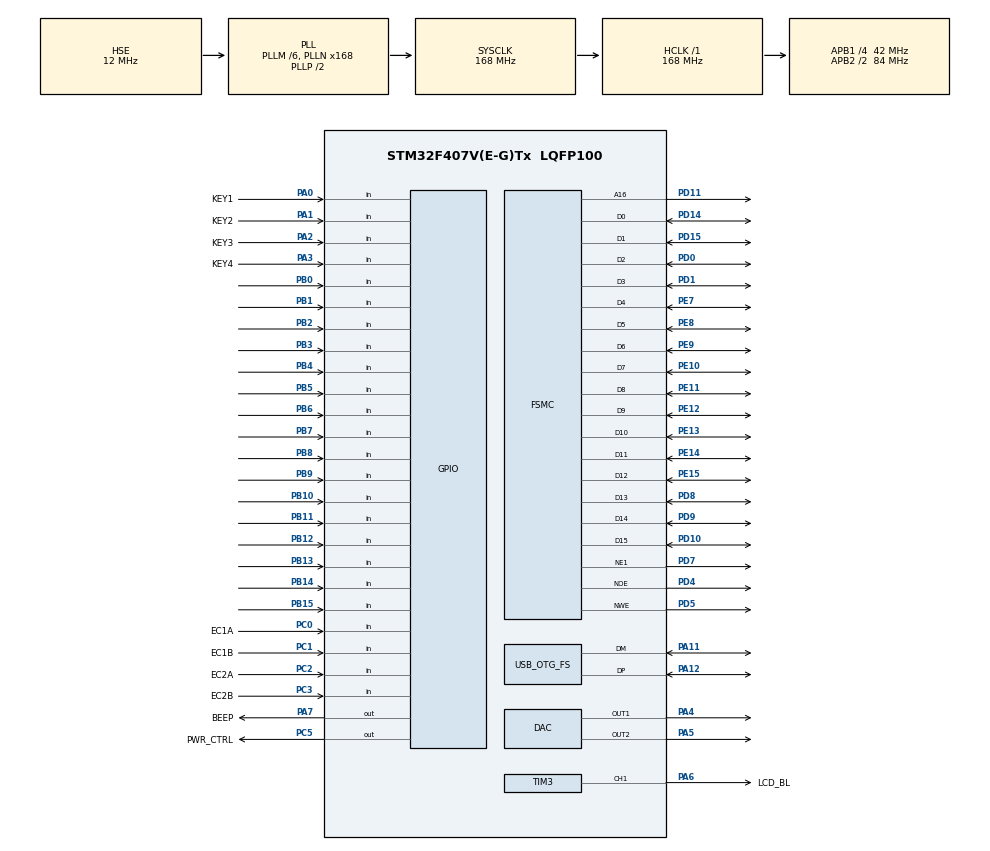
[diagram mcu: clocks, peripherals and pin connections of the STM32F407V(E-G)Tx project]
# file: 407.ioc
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FSMC.ExtendedMode1=FSMC_EXTENDED_MODE_DISABLE
Mcu.Family=STM32F4
Mcu.Name=STM32F407V(E-G)Tx
Mcu.Package=LQFP100
NVIC.OTG_FS_IRQn=true\:0\:0\:false\:false\:true\:true\:true
NVIC.PriorityGroup=NVIC_PRIORITYGROUP_4
PA0-WKUP.GPIO_Label=KEY1
PA0-WKUP.GPIO_PuPd=GPIO_PULLDOWN
PA0-WKUP.Signal=GPIO_Input
PA1.GPIO_Label=KEY2
PA1.GPIO_PuPd=GPIO_PULLDOWN
PA1.Signal=GPIO_Input
PA11.Mode=Device_Only
PA11.Signal=USB_OTG_FS_DM
PA12.Mode=Device_Only
PA12.Signal=USB_OTG_FS_DP
PA13.Mode=Serial_Wire
PA13.Signal=SYS_JTMS-SWDIO
PA14.Mode=Serial_Wire
PA14.Signal=SYS_JTCK-SWCLK
PA2.GPIO_Label=KEY3
PA2.GPIO_PuPd=GPIO_PULLDOWN
PA2.Signal=GPIO_Input
PA3.GPIO_Label=KEY4
PA3.GPIO_PuPd=GPIO_PULLDOWN
PA3.Signal=GPIO_Input
PA4.Signal=COMP_DAC1_group
PA5.Signal=COMP_DAC2_group
PA6.GPIO_Label=LCD_BL
PA6.Signal=S_TIM3_CH1
PA7.GPIO_Label=BEEP
PA7.GPIO_PuPd=GPIO_PULLDOWN
PA7.GPIO_Speed=GPIO_SPEED_FREQ_VERY_HIGH
PA7.Signal=GPIO_Output
PB0.Signal=GPIO_Input
PB1.Signal=GPIO_Input
PB10.Signal=GPIO_Input
PB11.Signal=GPIO_Input
PB12.Signal=GPIO_Input
PB13.Signal=GPIO_Input
PB14.Signal=GPIO_Input
PB15.Signal=GPIO_Input
PB2.Signal=GPIO_Input
PB3.Signal=GPIO_Input
PB4.Signal=GPIO_Input
PB5.Signal=GPIO_Input
PB6.Signal=GPIO_Input
PB7.Signal=GPIO_Input
PB8.Signal=GPIO_Input
PB9.Signal=GPIO_Input
PC0.GPIO_Label=EC1A
PC0.GPIO_PuPd=GPIO_PULLDOWN
PC0.Signal=GPIO_Input
PC1.GPIO_Label=EC1B
PC1.GPIO_PuPd=GPIO_PULLDOWN
PC1.Signal=GPIO_Input
PC2.GPIO_Label=EC2A
PC2.GPIO_PuPd=GPIO_PULLDOWN
PC2.Signal=GPIO_Input
PC3.GPIO_Label=EC2B
PC3.GPIO_PuPd=GPIO_PULLDOWN
PC3.Signal=GPIO_Input
PC5.GPIO_Label=PWR_CTRL
PC5.GPIO_Speed=GPIO_SPEED_FREQ_VERY_HIGH
PC5.Signal=GPIO_Output
PD0.Mode=16b-d1
PD0.Signal=FSMC_D2
PD1.Mode=16b-d1
PD1.Signal=FSMC_D3
PD10.Mode=16b-d1
PD10.Signal=FSMC_D15
PD11.Mode=A16_1
PD11.Signal=FSMC_A16
PD14.Mode=16b-d1
PD14.Signal=FSMC_D0
PD15.Mode=16b-d1
PD15.Signal=FSMC_D1
PD4.Mode=Lcd1
PD4.Signal=FSMC_NOE
PD5.Mode=Lcd1
PD5.Signal=FSMC_NWE
PD7.Mode=NorPsramChipSelect1_1
PD7.Signal=FSMC_NE1
PD8.Mode=16b-d1
PD8.Signal=FSMC_D13
PD9.Mode=16b-d1
PD9.Signal=FSMC_D14
PE10.Mode=16b-d1
PE10.Signal=FSMC_D7
PE11.Mode=16b-d1
PE11.Signal=FSMC_D8
PE12.Mode=16b-d1
PE12.Signal=FSMC_D9
PE13.Mode=16b-d1
PE13.Signal=FSMC_D10
PE14.Mode=16b-d1
PE14.Signal=FSMC_D11
PE15.Mode=16b-d1
PE15.Signal=FSMC_D12
PE7.Mode=16b-d1
PE7.Signal=FSMC_D4
PE8.Mode=16b-d1
PE8.Signal=FSMC_D5
PE9.Mode=16b-d1
PE9.Signal=FSMC_D6
PH0-OSC_IN.Mode=HSE-External-Oscillator
PH0-OSC_IN.Signal=RCC_OSC_IN
PH1-OSC_OUT.Mode=HSE-External-Oscillator
PH1-OSC_OUT.Signal=RCC_OSC_OUT
ProjectManager.HeapSize=0x1000
ProjectManager.StackSize=0x2000
ProjectManager.TargetToolchain=MDK-ARM V5.27
RCC.48MHZClocksFreq_Value=48000000
RCC.AHBFreq_Value=168000000
RCC.APB1CLKDivider=RCC_HCLK_DIV4
RCC.APB1Freq_Value=42000000
RCC.APB1TimFreq_Value=84000000
RCC.APB2CLKDivider=RCC_HCLK_DIV2
RCC.APB2Freq_Value=84000000
RCC.APB2TimFreq_Value=168000000
RCC.CortexFreq_Value=168000000
RCC.HCLKFreq_Value=168000000
RCC.HSE_VALUE=12000000
RCC.HSI_VALUE=16000000
RCC.LSE_VALUE=32768
RCC.PLLM=6
RCC.PLLN=168
RCC.PLLQ=7
RCC.SYSCLKFreq_VALUE=168000000
RCC.SYSCLKSource=RCC_SYSCLKSOURCE_PLLCLK
RCC.VCOOutputFreq_Value=336000000
SH.COMP_DAC1_group.0=DAC_OUT1,DAC_OUT1
SH.COMP_DAC2_group.0=DAC_OUT2,DAC_OUT2
SH.S_TIM3_CH1.0=TIM3_CH1,PWM Generation1 CH1
TIM3.Channel-PWM\ Generation1\ CH1=TIM_CHANNEL_1
TIM3.OC1Preload_PWM=DISABLE
TIM3.OCFastMode_PWM-PWM\ Generation1\ CH1=TIM_OCFAST_ENABLE
TIM3.OCMode_PWM-PWM\ Generation1\ CH1=TIM_OCMODE_PWM1
TIM3.OCPolarity_1=TIM_OCPOLARITY_LOW
TIM3.Period=5000-1
TIM3.Prescaler=0
TIM3.Pulse-PWM\ Generation1\ CH1=2800
TIM4.Prescaler=0
USB_DEVICE.CLASS_NAME_FS=CDC
USB_DEVICE.VirtualMode-CDC_FS=Cdc
USB_DEVICE.VirtualModeFS=Cdc_FS
USB_OTG_FS.VirtualMode=Device_Only
VP_RNG_VS_RNG.Mode=RNG_Activate
VP_TIM3_VS_ClockSourceINT.Mode=Internal
VP_TIM4_VS_ClockSourceINT.Mode=Internal
VP_TIM8_VS_ClockSourceINT.Mode=Internal
VP_USB_DEVICE_VS_USB_DEVICE_CDC_FS.Mode=CDC_FS
board=custom

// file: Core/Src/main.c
/* USER CODE BEGIN Header */
/**
  ******************************************************************************
  * @file           : main.c
  * @brief          : Main program body
  ******************************************************************************
  * @attention
  *
  * <h2><center>&copy; Copyright (c) 2021 STMicroelectronics.
  * All rights reserved.</center></h2>
  *
  * This software component is licensed by ST under BSD 3-Clause license,
  * the "License"; You may not use this file except in compliance with the
  * License. You may obtain a copy of the License at:
  *                        opensource.org/licenses/BSD-3-Clause
  *
  ******************************************************************************
  */
/* USER CODE END Header */
#include "main.h"
#include "dac.h"
#include "rng.h"
#include "tim.h"
#include "usb_device.h"
#include "gpio.h"

/* USER CODE BEGIN Includes */
#include "lcd.h"
//#include "usb_device.h"
//#include "usbd_cdc_if.h"
#include "lv_user.h"

#include <stdio.h>
#include <stdlib.h>
#include <string.h>
#include <stdarg.h>
/* USER CODE END Includes */

void SystemClock_Config(void);

int main(void)
{
  /* USER CODE BEGIN 1 */
    uint8_t t;
    uint8_t str_buf[] = "Hello USB VCP\r\n";
  /* USER CODE END 1 */

  /* MCU Configuration--------------------------------------------------------*/

  /* Reset of all peripherals, Initializes the Flash interface and the Systick. */
  HAL_Init();

  /* Configure the system clock */
  SystemClock_Config();

  /* Initialize all configured peripherals */
  MX_GPIO_Init();
  MX_TIM3_Init();
  MX_RNG_Init();
  MX_DAC_Init();
  MX_TIM4_Init();
  MX_TIM8_Init();
  MX_USB_DEVICE_Init();
  /* USER CODE BEGIN 2 */
    HAL_GPIO_WritePin(PWR_CTRL_GPIO_Port,PWR_CTRL_Pin,GPIO_PIN_SET);//背光电源
    HAL_TIM_PWM_Start(&htim3,TIM_CHANNEL_1);
    __HAL_TIM_SetCompare(&htim3,TIM_CHANNEL_1,3000);//背光亮度
    //MX_USB_DEVICE_Init();
    lcd_init();
    lcd_show_string(0,0,320,16,16,"Hello World",BLUE);
    sprintf((char *)str_buf,"LCD ID:ILI0x%04x",lcddev.id);
    lcd_show_string(0,16,320,16,16,(char *)str_buf,BLUE);

    //printf("hello world");
  /* USER CODE END 2 */

  /* Infinite loop */
  /* USER CODE BEGIN WHILE */
    lv_user_init();

    while (1)
    {
        lv_task_handler();
        HAL_Delay(2);
    /* USER CODE END WHILE */

    /* USER CODE BEGIN 3 */

        if(HAL_GPIO_ReadPin(KEY1_GPIO_Port,KEY1_Pin) == GPIO_PIN_SET)
        {
            HAL_Delay(20);
            if(HAL_GPIO_ReadPin(KEY1_GPIO_Port,KEY1_Pin) == GPIO_PIN_SET)
            {
                int p;
                for(p=0; p<100; p++)
                {
                    HAL_GPIO_WritePin(BEEP_GPIO_Port,BEEP_Pin,GPIO_PIN_SET);
                    HAL_Delay(1);
                    HAL_GPIO_WritePin(BEEP_GPIO_Port,BEEP_Pin,GPIO_PIN_RESET);
                    HAL_Delay(1);

                    //CDC_Transmit_FS(str_buf,strlen((const char *)str_buf));/* 发送数据 */
                }
            }
            while((HAL_GPIO_ReadPin(KEY1_GPIO_Port,KEY1_Pin) == GPIO_PIN_SET));
            HAL_Delay(20);
        }
    }
  /* USER CODE END 3 */
}

void SystemClock_Config(void)
{
  RCC_OscInitTypeDef RCC_OscInitStruct = {0};
  RCC_ClkInitTypeDef RCC_ClkInitStruct = {0};

  /** Configure the main internal regulator output voltage
  */
  __HAL_RCC_PWR_CLK_ENABLE();
  __HAL_PWR_VOLTAGESCALING_CONFIG(PWR_REGULATOR_VOLTAGE_SCALE1);
  /** Initializes the RCC Oscillators according to the specified parameters
  * in the RCC_OscInitTypeDef structure.
  */
  RCC_OscInitStruct.OscillatorType = RCC_OSCILLATORTYPE_HSE;
  RCC_OscInitStruct.HSEState = RCC_HSE_ON;
  RCC_OscInitStruct.PLL.PLLState = RCC_PLL_ON;
  RCC_OscInitStruct.PLL.PLLSource = RCC_PLLSOURCE_HSE;
  RCC_OscInitStruct.PLL.PLLM = 6;
  RCC_OscInitStruct.PLL.PLLN = 168;
  RCC_OscInitStruct.PLL.PLLP = RCC_PLLP_DIV2;
  RCC_OscInitStruct.PLL.PLLQ = 7;
  if (HAL_RCC_OscConfig(&RCC_OscInitStruct) != HAL_OK)
  {
    Error_Handler();
  }
  /** Initializes the CPU, AHB and APB buses clocks
  */
  RCC_ClkInitStruct.ClockType = RCC_CLOCKTYPE_HCLK|RCC_CLOCKTYPE_SYSCLK
                              |RCC_CLOCKTYPE_PCLK1|RCC_CLOCKTYPE_PCLK2;
  RCC_ClkInitStruct.SYSCLKSource = RCC_SYSCLKSOURCE_PLLCLK;
  RCC_ClkInitStruct.AHBCLKDivider = RCC_SYSCLK_DIV1;
  RCC_ClkInitStruct.APB1CLKDivider = RCC_HCLK_DIV4;
  RCC_ClkInitStruct.APB2CLKDivider = RCC_HCLK_DIV2;

  if (HAL_RCC_ClockConfig(&RCC_ClkInitStruct, FLASH_LATENCY_5) != HAL_OK)
  {
    Error_Handler();
  }
}

/* USER CODE BEGIN 4 */

#ifdef __GNUC__
/* With GCC/RAISONANCE, small printf (option LD Linker->Libraries->Small printf
   set to 'Yes') calls __io_putchar() */
#define PUTCHAR_PROTOTYPE int __io_putchar(int ch)
#else
#define PUTCHAR_PROTOTYPE int fputc(int ch, FILE *f)
#endif /* __GNUC__ */
/**
  * @brief  Retargets the C library printf function to the USART.
  * @param  None
  * @retval None
  */
PUTCHAR_PROTOTYPE
{
    /* Place your implementation of fputc here */
    /* e.g. write a character to the EVAL_COM1 and Loop until the end of transmission */
    //HAL_UART_Transmit(&huart1, (uint8_t *)&ch, 1, 0xFFFF);/* putchar的实现函数，使用阻塞模式发送字符，句柄为huart1 */
    //CDC_Transmit_FS((uint8_t *)&ch,1);
    return ch;
}

/* USER CODE END 4 */

void Error_Handler(void)
{
    __disable_irq();
    while (1)
    {
    }
}

/************************ (C) COPYRIGHT STMicroelectronics *****END OF FILE****/
